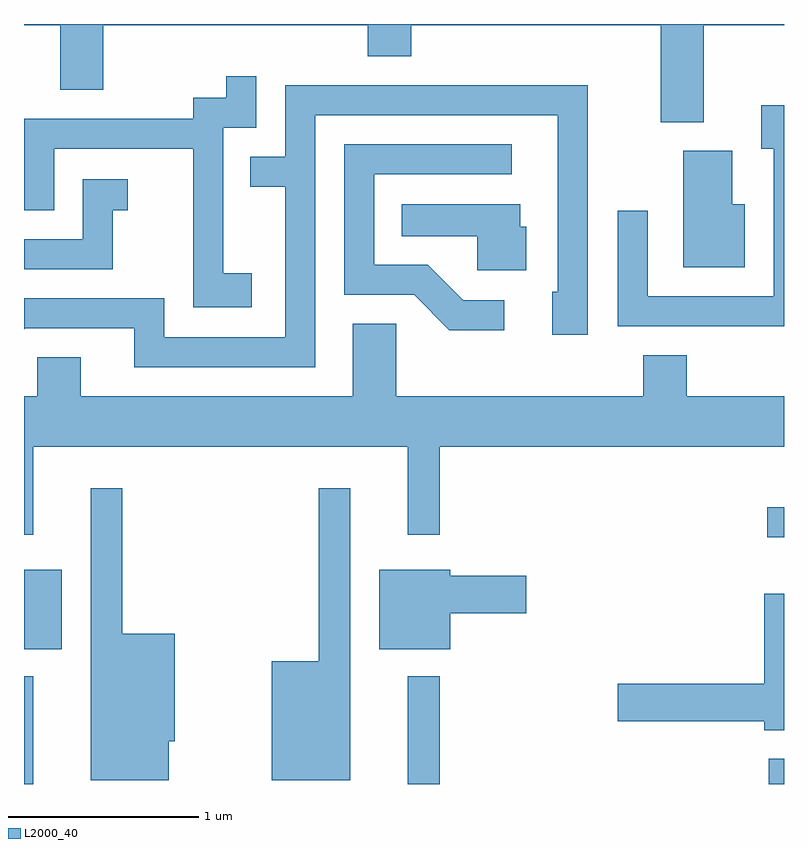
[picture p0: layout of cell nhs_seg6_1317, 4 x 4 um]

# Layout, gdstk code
import gdstk
lib = gdstk.Library(unit=1e-6, precision=1e-09)
def R(c, l, rs):  # rectangles x0, y0, x1, y1
    for r in rs: c.add(gdstk.rectangle(r[:2], r[2:], *l))
def P(c, l, *ps):  # polygons
    for p in ps: c.add(gdstk.Polygon(p, *l))
L2000_40 = (2000, 40)

nhs_seg6_1317 = lib.new_cell('nhs_seg6_1317')
R(nhs_seg6_1317, L2000_40, [(223.611,1648.162,223.659,1648.728), (225.631,1648.162,225.799,1648.728), (227.531,1648.162,227.611,1648.294), (223.611,1648.871,223.809,1649.289), (227.523,1649.461,227.611,1649.619)])
P(nhs_seg6_1317, L2000_40, [(227.189,1652.156),(227.611,1652.156),(227.611,1652.162),(223.611,1652.162),(223.611,1652.156),(223.801,1652.156),(223.801,1651.816),(224.029,1651.816),(224.029,1652.156),(225.421,1652.156),(225.421,1651.991),(225.649,1651.991),(225.649,1652.156),(226.961,1652.156),(226.961,1651.646),(227.189,1651.646)],
  [(224.809,1650.849),(224.659,1650.849),(224.659,1651.616),(224.834,1651.616),(224.834,1651.888),(224.676,1651.888),(224.676,1651.774),(224.501,1651.774),(224.501,1651.664),(223.611,1651.664),(223.611,1651.181),(223.769,1651.181),(223.769,1651.506),(224.501,1651.506),(224.501,1650.671),(224.809,1650.671)],
  [(225.144,1651.681),(226.421,1651.681),(226.421,1650.754),(226.391,1650.754),(226.391,1650.526),(226.579,1650.526),(226.579,1651.839),(224.986,1651.839),(224.986,1651.464),(224.803,1651.464),(224.803,1651.306),(224.986,1651.306),(224.986,1650.514),(224.349,1650.514),(224.349,1650.719),(223.611,1650.719),(223.611,1650.555),(223.617,1650.561),(224.191,1650.561),(224.191,1650.356),(225.144,1650.356)],
  [(227.611,1651.734),(227.491,1651.734),(227.491,1651.506),(227.556,1651.506),(227.556,1650.729),(226.894,1650.729),(226.894,1651.178),(226.736,1651.178),(226.736,1650.571),(227.611,1650.571)],
  [(226.138,1650.709),(225.922,1650.709),(225.737,1650.894),(225.454,1650.894),(225.454,1651.371),(226.178,1651.371),(226.178,1651.529),(225.296,1651.529),(225.296,1650.736),(225.664,1650.736),(225.849,1650.551),(226.138,1650.551)],
  [(227.404,1651.214),(227.339,1651.214),(227.339,1651.494),(227.081,1651.494),(227.081,1650.881),(227.404,1650.881)],
  [(224.079,1651.181),(224.158,1651.181),(224.158,1651.344),(223.921,1651.344),(223.921,1651.029),(223.611,1651.029),(223.611,1650.871),(224.079,1650.871)],
  [(226.254,1651.094),(226.224,1651.094),(226.224,1651.214),(225.598,1651.214),(225.598,1651.046),(225.996,1651.046),(225.996,1650.866),(226.254,1650.866)],
  [(223.659,1649.936),(225.631,1649.936),(225.631,1649.473),(225.799,1649.473),(225.799,1649.936),(227.611,1649.936),(227.611,1650.204),(227.099,1650.204),(227.099,1650.419),(226.871,1650.419),(226.871,1650.204),(225.569,1650.204),(225.569,1650.584),(225.341,1650.584),(225.341,1650.204),(223.909,1650.204),(223.909,1650.409),(223.681,1650.409),(223.681,1650.204),(223.611,1650.204),(223.611,1649.473),(223.659,1649.473)],
  [(224.374,1648.386),(224.404,1648.386),(224.404,1648.954),(224.129,1648.954),(224.129,1649.718),(223.961,1649.718),(223.961,1648.181),(224.374,1648.181)],
  [(225.329,1649.718),(225.161,1649.718),(225.161,1648.809),(224.916,1648.809),(224.916,1648.181),(225.329,1648.181)],
  [(225.854,1649.061),(226.254,1649.061),(226.254,1649.259),(225.854,1649.259),(225.854,1649.289),(225.481,1649.289),(225.481,1648.871),(225.854,1648.871)],
  [(227.611,1649.164),(227.506,1649.164),(227.506,1648.689),(226.736,1648.689),(226.736,1648.491),(227.506,1648.491),(227.506,1648.446),(227.611,1648.446)])

lib.write_gds('nhs_seg6_1317.gds')
